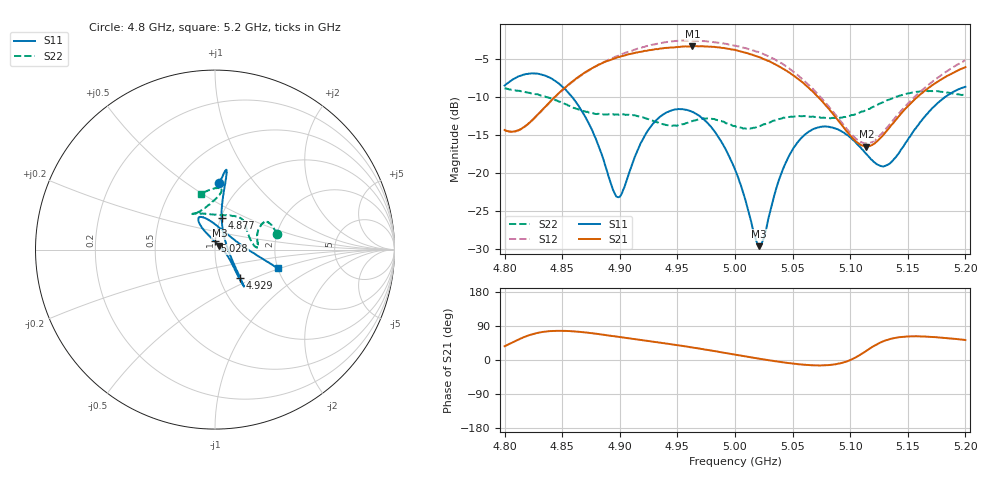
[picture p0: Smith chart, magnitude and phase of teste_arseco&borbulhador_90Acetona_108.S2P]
! Network Analyzer HP8722D
! Hewlett-Packard
! Data name: Linha & Wilkinson
! Saver's name: Rodrigo Anjos
! Comments: Teste da utilização de aquisição
! continua pelo VNA HP8722D
! Time and date: 17/4/2025 11:57
!  Frequency  S11  S21  S12  S22
# HZ  S  MA R 50
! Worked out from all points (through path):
!   401 points, 4.8 GHz to 5.2 GHz, reference 50 ohm
!   highest |S21| = -3.37 dB at 4.963 GHz (marker M1); lowest = -16.6 dB at 5.114 GHz (marker M2)
!   lowest |S11| = -29.7 dB at 5.021 GHz (marker M3), VSWR 1.07, Z = 52.4 + j2.3 ohm
!   |S11| at or under -10 dB: 4.858 GHz to 5.183 GHz (324.8 MHz wide, 6.47 % of centre)
!   |S22| runs from -14.2 to -8.9 dB; largest |S21 - S12| = 0.23
!   S11 on the Smith chart (normalised r, x): 4.8 GHz: 0.79, +0.68; 4.877 GHz: 1.01, +0.37; 4.929 GHz: 1.25, -0.41; 5.028 GHz: 1.00, +0.09; 5.2 GHz: 2.00, -0.49
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4.8e9  0.3734 86.2  0.1904 36.3  0.1904 -3.4  0.3568 14.2
4.814e9  0.4334 83.0  0.1927 56.7  0.1924 17.9  0.3428 23.3
4.834e9  0.437 81.4  0.2648 74.4  0.2636 37.8  0.3175 29.1
4.867e9  0.254 81.1  0.4408 73.6  0.4376 43.6  0.2567 22.1
4.877e9  0.182 78.2  0.4901 70.3  0.4895 42.7  0.2451 17.2
4.894e9  0.07724 44.2  0.5583 63.2  0.5678 40.4  0.2421 9.1
4.899e9  0.06881 15.4  0.5739 60.8  0.5886 39.6  0.2399 7.1
4.918e9  0.1551 -41.9  0.6219 52.9  0.6602 35.6  0.2331 3.2
4.929e9  0.2102 -48.3  0.6425 48.2  0.6949 32.5  0.2187 6.2
4.934e9  0.2298 -49.8  0.6512 46.0  0.7081 30.8  0.2107 9.6
4.963e9  0.2504 -51.6  0.6783 32.9  0.7375 20.0  0.2182 39.2
4.982e9  0.1877 -48.2  0.6711 23.6  0.7197 12.6  0.225 53.1
5e9  0.1048 -35.6  0.6409 14.1  0.6837 5.9  0.2026 71.4
5.021e9  0.03278 42.0  0.5735 3.5  0.6185 -2.1  0.2014 101.0
5.028e9  0.04603 90.0  0.5444 0.2  0.5852 -4.9  0.2115 108.6
5.045e9  0.1198 119.3  0.4666 -7.6  0.496 -10.6  0.2313 119.0
5.067e9  0.1915 119.1  0.3442 -13.8  0.3592 -13.3  0.2332 121.8
5.089e9  0.1931 110.3  0.2229 -10.3  0.2312 -5.9  0.2282 112.4
5.114e9  0.1322 84.5  0.1479 24.1  0.1553 32.1  0.2586 95.4
5.134e9  0.1139 35.4  0.1971 54.9  0.2058 65.2  0.3019 85.9
5.171e9  0.2641 -10.4  0.3745 60.7  0.3936 78.6  0.3429 87.5
5.2e9  0.3665 -16.6  0.4936 52.6  0.5493 76.6  0.3198 104.6
